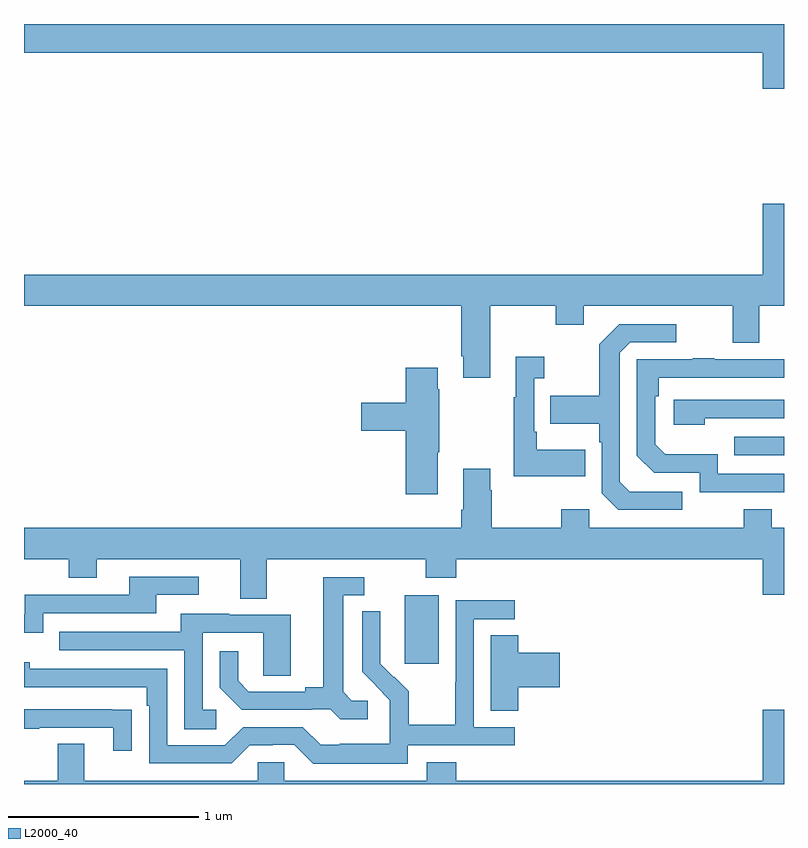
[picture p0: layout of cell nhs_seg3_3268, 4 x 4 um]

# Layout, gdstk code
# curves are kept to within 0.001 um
import gdstk
lib = gdstk.Library(unit=1e-6, precision=1e-09)
def R(c, l, rs):  # rectangles x0, y0, x1, y1
    for r in rs: c.add(gdstk.rectangle(r[:2], r[2:], *l))
def P(c, l, *ps):  # polygons
    for p in ps: c.add(gdstk.Polygon(p, *l))
L2000_40 = (2000, 40)

nhs_seg3_3268 = lib.new_cell('nhs_seg3_3268')
R(nhs_seg3_3268, L2000_40, [(283.004,699.033,283.183,699.394), (284.737,700.131,285,700.227)])
P(nhs_seg3_3268, L2000_40, [(285,702.4),(281,702.4),(281,702.248),(284.888,702.248),(284.888,702.06),(285,702.06)],
  [(283.453,700.916),(283.798,700.916),(283.798,700.817),(283.945,700.817),(283.945,700.916),(284.729,700.916),(284.729,700.722),(284.869,700.722),(284.869,700.916),(285,700.916),(285,701.455),(284.888,701.455),(284.888,701.08),(281,701.08),(281,700.916),(283.301,700.916),(283.301,700.651),(283.313,700.651),(283.313,700.539),(283.453,700.539)],
  [(284.464,699.939),(284.187,699.939),(284.136,699.99),(284.136,700.671),(284.19,700.725),(284.434,700.725),(284.434,700.821),(284.133,700.821),(284.028,700.715),(284.028,700.443),(283.771,700.443),(283.771,700.295),(284.028,700.295),(284.028,700.199),(284.04,700.199),(284.04,699.93),(284.127,699.843),(284.464,699.843)],
  [(283.955,700.159),(283.699,700.159),(283.699,700.255),(283.686,700.255),(283.686,700.535),(283.738,700.535),(283.738,700.648),(283.589,700.648),(283.589,700.435),(283.578,700.435),(283.578,700.019),(283.955,700.019)],
  [(285,700.032),(284.652,700.032),(284.652,700.135),(284.375,700.135),(284.322,700.188),(284.322,700.442),(284.342,700.442),(284.342,700.539),(285,700.539),(285,700.635),(284.633,700.635),(284.633,700.64),(284.521,700.64),(284.521,700.635),(284.226,700.635),(284.226,700.128),(284.316,700.038),(284.556,700.038),(284.556,699.936),(285,699.936)],
  [(283.177,700.147),(283.185,700.147),(283.185,700.478),(283.177,700.478),(283.177,700.591),(283.01,700.591),(283.01,700.406),(282.774,700.406),(282.774,700.259),(283.01,700.259),(283.01,699.924),(283.177,699.924)],
  [(284.582,700.326),(285,700.326),(285,700.422),(284.421,700.422),(284.421,700.292),(284.582,700.292)],
  [(282.277,699.584),(283.114,699.584),(283.114,699.485),(283.274,699.485),(283.274,699.584),(284.888,699.584),(284.888,699.396),(285,699.396),(285,699.748),(284.935,699.748),(284.935,699.847),(284.788,699.847),(284.788,699.748),(283.974,699.748),(283.974,699.847),(283.828,699.847),(283.828,699.748),(283.461,699.748),(283.461,699.947),(283.453,699.947),(283.453,700.06),(283.313,700.06),(283.313,699.844),(283.301,699.844),(283.301,699.748),(281,699.748),(281,699.584),(281.236,699.584),(281.236,699.485),(281.383,699.485),(281.383,699.584),(282.137,699.584),(282.137,699.376),(282.277,699.376)],
  [(281.1,699.3),(281.695,699.3),(281.695,699.396),(281.92,699.396),(281.92,699.492),(281.555,699.492),(281.555,699.396),(281.004,699.396),(281.004,699.294),(281,699.294),(281,699.197),(281.1,699.197)],
  [(282.808,698.838),(282.726,698.838),(282.679,698.885),(282.679,699.393),(282.79,699.393),(282.79,699.489),(282.575,699.489),(282.575,698.909),(282.479,698.909),(282.479,698.886),(282.184,698.886),(282.127,698.943),(282.127,699.1),(282.03,699.1),(282.03,698.906),(282.146,698.79),(282.518,698.79),(282.518,698.793),(282.612,698.793),(282.664,698.741),(282.808,698.741)],
  [(283.02,698.604),(283.582,698.604),(283.582,698.7),(283.368,698.7),(283.368,699.267),(283.582,699.267),(283.582,699.366),(283.272,699.366),(283.272,698.936),(283.27,698.936),(283.27,698.713),(283.025,698.713),(283.025,698.887),(282.948,698.964),(282.945,698.961),(282.875,699.032),(282.876,699.308),(282.78,699.308),(282.78,698.99),(282.926,698.842),(282.926,698.745),(282.924,698.745),(282.924,698.611),(282.661,698.611),(282.661,698.607),(282.561,698.607),(282.468,698.7),(282.153,698.7),(282.057,698.604),(281.754,698.604),(281.754,699.006),(281.03,699.006),(281.03,699.04),(281,699.04),(281,698.91),(281.645,698.91),(281.645,698.813),(281.658,698.813),(281.658,698.508),(282.093,698.508),(282.189,698.604),(282.308,698.604),(282.308,698.607),(282.423,698.607),(282.523,698.507),(283.02,698.507)],
  [(282.013,698.79),(281.94,698.79),(281.94,699.195),(282.258,699.195),(282.258,698.971),(282.403,698.971),(282.403,699.291),(282.079,699.291),(282.079,699.295),(281.825,699.295),(281.825,699.201),(281.185,699.201),(281.185,699.105),(281.844,699.105),(281.844,698.689),(282.013,698.689)],
  [(283.601,698.909),(283.819,698.909),(283.819,699.092),(283.601,699.092),(283.601,699.182),(283.457,699.182),(283.457,698.785),(283.601,698.785)],
  [(281.567,698.792),(281.465,698.792),(281.465,698.793),(281,698.793),(281,698.692),(281.081,698.692),(281.081,698.697),(281.471,698.697),(281.471,698.574),(281.567,698.574)],
  [(285,698.791),(284.888,698.791),(284.888,698.416),(283.274,698.416),(283.274,698.515),(283.121,698.515),(283.121,698.416),(282.369,698.416),(282.369,698.514),(282.231,698.514),(282.231,698.416),(281.317,698.416),(281.317,698.611),(281.177,698.611),(281.177,698.416),(281,698.416),(281,698.4),(285,698.4)])

lib.write_gds('nhs_seg3_3268.gds')
